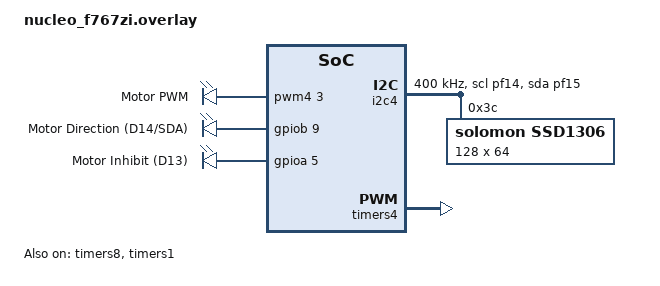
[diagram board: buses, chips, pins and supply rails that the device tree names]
/ {
	aliases {
		motor-pwm = &motor_pwm_node;
		motor-dir = &motor_dir_pin;
		motor-inhibit = &motor_inhibit_pin;
		qdec0 = &qdec8;
		qdec1 = &qdec1;
	};

	pwm_motors {
		compatible = "pwm-leds";
		motor_pwm_node: motor_pwm_node {
			pwms = <&pwm4 3 PWM_USEC(50) PWM_POLARITY_NORMAL>;
			label = "Motor PWM";
		};
	};

	motor_ctrl_node: motor_ctrl_node {
		compatible = "gpio-leds";
		motor_dir_pin: motor_dir_pin_0 {
			gpios = <&gpiob 9 GPIO_ACTIVE_HIGH>;
			label = "Motor Direction (D14/SDA)";
		};
		motor_inhibit_pin: motor_inhibit_pin_0 {
			gpios = <&gpioa 5 GPIO_ACTIVE_HIGH>;
			label = "Motor Inhibit (D13)";
		};
	};
};

/* Encoder on PC6/PC7 using TIM8 */
&timers8 {
	status = "okay";
	qdec8: qdec {
		compatible = "st,stm32-qdec";
		pinctrl-0 = <&tim8_ch1_pc6 &tim8_ch2_pc7>;
		pinctrl-names = "default";

		st,input-filter-level = <0>;
		st,encoder-mode = <0x3>;
		st,counts-per-revolution = <4096>;

		status = "okay";
	};
};

/* Encoder on PE9/PE11 using TIM1 */
&timers1 {
	st,prescaler = <0>;
	status = "okay";
	qdec1: qdec {
		compatible = "st,stm32-qdec";
		pinctrl-0 = <&tim1_ch1_pe9 &tim1_ch2_pe11>;
		pinctrl-names = "default";

		st,input-filter-level = <0>;
		st,encoder-mode = <0x3>;
		st,counts-per-revolution = <4000>;

		status = "okay";
	};
};

&pwm1 {
	status = "disabled";
};

/* Disable SPI1 to free up PA5 (SCK) */
&spi1 {
	status = "disabled";
};

/* Ensure I2C1 is disabled to free up PB8/PB9 */
&i2c1 {
	status = "disabled";
};

/* I2C4 for OLED */
&i2c4 {
	status = "okay";
	pinctrl-0 = <&i2c4_scl_pf14 &i2c4_sda_pf15>;
	pinctrl-names = "default";
	clock-frequency = <I2C_BITRATE_FAST>;

	ssd1306: ssd1306@3c {
		compatible = "solomon,ssd1306";
		reg = <0x3c>;
		width = <128>;
		height = <64>;
		segment-offset = <0>;
		page-offset = <0>;
		display-offset = <0>;
		multiplex-ratio = <63>;
		segment-remap;
		com-invdir;
		prechargep = <0x22>;
	};
};

&timers4 {
	status = "okay";
	st,prescaler = <100>;
	pwm4: pwm {
		status = "okay";
		pinctrl-0 = <&tim4_ch3_pb8>;
		pinctrl-names = "default";
	};
};
